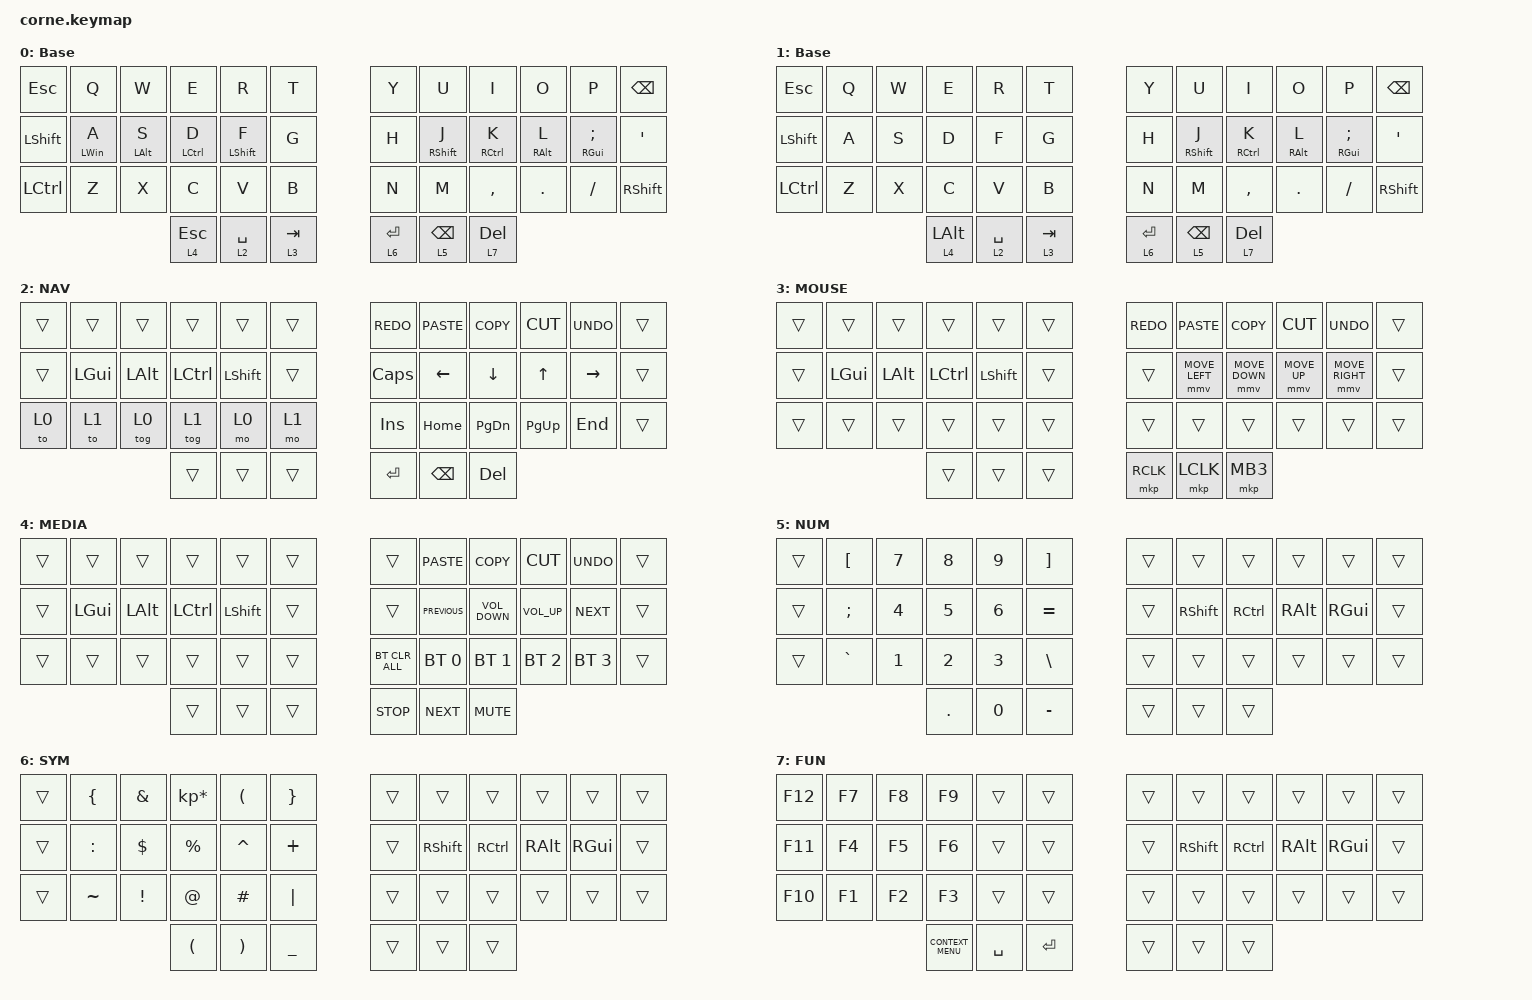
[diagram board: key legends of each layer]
#include <behaviors.dtsi>
#include <dt-bindings/zmk/bt.h>
#include <dt-bindings/zmk/keys.h>
#include <dt-bindings/zmk/pointing.h>

#define DEF 0
#define NAV 1
#define SYM 2
#define ADJ 3
#define EXTRA 4

&mt {
    flavor = "balanced";
    quick-tap-ms = <175>;
    tapping-term-ms = <280>;
    require-prior-idle-ms = <150>;
};

/ {
    behaviors {
        hm: homerow_mods {
            compatible = "zmk,behavior-hold-tap";
            label = "HOMEROW_MODS";
            #binding-cells = <2>;
            tapping-term-ms = <200>;
            quick_tap_ms = <0>;
            flavor = "tap-preferred";
            bindings = <&kp>, <&kp>;

            quick-tap-ms = <180>;
            global-quick-tap;
        };

        para: para {
            compatible = "zmk,behavior-tap-dance";
            label = "PARA";
            #binding-cells = <0>;
            bindings = <&kp LEFT_PARENTHESIS>, <&kp RIGHT_PARENTHESIS>;
        };

        caps: caps {
            compatible = "zmk,behavior-caps-word";
            label = "CAPS";
            #binding-cells = <0>;
            continue-list = <MINUS BACKSPACE>;
        };

        paraless: paraless {
            compatible = "zmk,behavior-mod-morph";
            label = "PARALESS";
            bindings = <&kp LEFT_PARENTHESIS>, <&kp LESS_THAN>;

            #binding-cells = <0>;
            mods = <(MOD_LSFT)>;
        };

        paragreat: paragreat {
            compatible = "zmk,behavior-mod-morph";
            label = "PARAGREAT";
            bindings = <&kp RIGHT_PARENTHESIS>, <&kp GREATER_THAN>;

            #binding-cells = <0>;
            mods = <(MOD_LSFT)>;
        };
    };

    macros {
        browsertab: browsertab {
            compatible = "zmk,behavior-macro";
            #binding-cells = <0>;
            bindings =
                <&macro_press>,
                <&kp LCTRL>,
                <&macro_tap>,
                <&kp TAB>,
                <&macro_release>,
                <&kp LCTRL>;
        };
    };

    combos {
        compatible = "zmk,combos";

        escape {
            bindings = <&kp ESCAPE>;
            key-positions = <13 29>;
        };

        delete {
            bindings = <&kp DELETE>;
            key-positions = <15 21>;
        };

        perc {
            bindings = <&kp PERCENT>;
            key-positions = <5 17>;
        };

        equal {
            bindings = <&kp EQUAL>;
            key-positions = <28 16>;
        };

        dollar {
            bindings = <&kp DOLLAR>;
            key-positions = <4 16>;
        };

        pound {
            bindings = <&kp POUND>;
            key-positions = <3 15>;
        };

        at {
            bindings = <&kp AT>;
            key-positions = <2 14>;
        };

        backslash {
            bindings = <&kp BACKSLASH>;
            key-positions = <26 14>;
        };

        copy {
            bindings = <&kp K_COPY>;
            key-positions = <28 27>;
        };

        paste {
            bindings = <&kp K_PASTE>;
            key-positions = <26 27>;
        };

        star {
            bindings = <&kp STAR>;
            key-positions = <8 20>;
        };

        slash {
            bindings = <&kp SLASH>;
            key-positions = <32 20>;
        };

        plus {
            bindings = <&kp PLUS>;
            key-positions = <7 19>;
        };

        minus {
            bindings = <&kp KP_MINUS>;
            key-positions = <31 19>;
        };

        underscore {
            bindings = <&kp UNDER>;
            key-positions = <30 18>;
        };

        leftbrack {
            bindings = <&kp LEFT_BRACKET>;
            key-positions = <31 32>;
        };

        rightbrack {
            bindings = <&kp RIGHT_BRACKET>;
            key-positions = <33 32>;
        };

        para-less {
            bindings = <&paraless>;
            key-positions = <20 19>;
        };

        para-great {
            bindings = <&paragreat>;
            key-positions = <20 21>;
        };

        GamingToggle {
            bindings = <&tog 0>;
            key-positions = <24 25>;
        };
    };

    //

    keymap {
        compatible = "zmk,keymap";

        Base {
            display-name = "Base";

            // -----------------------------------------------------------------------------------------
            // |  Q  |  W  |  E  |  R  |  T  |   |  Y  |  U   |  I  |  O  |  P  |
            // |  A  |  S  |  D  |  F  |  G  |   |  H  |  J   |  K  |  L  |  ;  |
            // |  Z  |  X  |  C  |  V  |  B  |   |  N  |  M   |  ,  |  .  |  /  |
            // | GUI | CTRL | SHFT | LWR | SPC |   | ENT | RSE  | BKSP | ALT | ESC |

            bindings = <
&kp ESC    &kp Q           &kp W           &kp E               &kp R             &kp T        &kp Y        &kp U              &kp I                &kp O            &kp P               &kp BACKSPACE
&kp LSHFT  &mt LEFT_WIN A  &mt LEFT_ALT S  &mt LEFT_CONTROL D  &mt LEFT_SHIFT F  &kp G        &kp H        &mt RIGHT_SHIFT J  &mt RIGHT_CONTROL K  &mt RIGHT_ALT L  &mt RIGHT_GUI SEMI  &kp SQT
&kp LCTRL  &kp Z           &kp X           &kp C               &kp V             &kp B        &kp N        &kp M              &kp COMMA            &kp DOT          &kp FSLH            &kp RSHFT
                                           &lt 4 ESC           &lt 2 SPACE       &lt 3 TAB    &lt 6 ENTER  &lt 5 BACKSPACE    &lt 7 DEL
            >;
        };

        Gaming {
            display-name = "Base";
            bindings = <
&kp ESC    &kp Q  &kp W  &kp E           &kp R        &kp T        &kp Y        &kp U              &kp I                &kp O            &kp P               &kp BACKSPACE
&kp LSHFT  &kp A  &kp S  &kp D           &kp F        &kp G        &kp H        &mt RIGHT_SHIFT J  &mt RIGHT_CONTROL K  &mt RIGHT_ALT L  &mt RIGHT_GUI SEMI  &kp SQT
&kp LCTRL  &kp Z  &kp X  &kp C           &kp V        &kp B        &kp N        &kp M              &kp COMMA            &kp DOT          &kp FSLH            &kp RSHFT
                         &lt 4 LEFT_ALT  &lt 2 SPACE  &lt 3 TAB    &lt 6 ENTER  &lt 5 BACKSPACE    &lt 7 DEL
            >;
        };

        NAV {
            bindings = <
&trans  &trans        &trans        &trans            &trans          &trans    &kp K_REDO    &kp K_PASTE    &kp K_COPY     &kp K_CUT     &kp K_UNDO  &trans
&trans  &kp LEFT_GUI  &kp LEFT_ALT  &kp LEFT_CONTROL  &kp LEFT_SHIFT  &trans    &kp CAPSLOCK  &kp LEFT       &kp DOWN       &kp UP_ARROW  &kp RIGHT   &trans
&to 0   &to 1         &tog 0        &tog 1            &mo 0           &mo 1     &kp INSERT    &kp HOME       &kp PAGE_DOWN  &kp PAGE_UP   &kp END     &trans
                                    &trans            &trans          &trans    &kp ENTER     &kp BACKSPACE  &kp DELETE
            >;
        };

        MOUSE {
            bindings = <
&trans  &trans    &trans    &trans     &trans     &trans    &kp K_REDO  &kp K_PASTE     &kp K_COPY      &kp K_CUT     &kp K_UNDO       &trans
&trans  &kp LGUI  &kp LALT  &kp LCTRL  &kp LSHFT  &trans    &trans      &mmv MOVE_LEFT  &mmv MOVE_DOWN  &mmv MOVE_UP  &mmv MOVE_RIGHT  &trans
&trans  &trans    &trans    &trans     &trans     &trans    &trans      &trans          &trans          &trans        &trans           &trans
                            &trans     &trans     &trans    &mkp RCLK   &mkp LCLK       &mkp MB3
            >;
        };

        MEDIA {
            bindings = <
&trans  &trans    &trans    &trans     &trans     &trans    &trans          &kp K_PASTE     &kp K_COPY         &kp K_CUT        &kp K_UNDO    &trans
&trans  &kp LGUI  &kp LALT  &kp LCTRL  &kp LSHFT  &trans    &trans          &kp K_PREVIOUS  &kp C_VOLUME_DOWN  &kp C_VOLUME_UP  &kp C_NEXT    &trans
&trans  &trans    &trans    &trans     &trans     &trans    &bt BT_CLR_ALL  &bt BT_SEL 0    &bt BT_SEL 1       &bt BT_SEL 2     &bt BT_SEL 3  &trans
                            &trans     &trans     &trans    &kp K_STOP      &kp K_NEXT      &kp K_MUTE
            >;
        };

        NUM {
            bindings = <
&trans  &kp LBKT   &kp N7  &kp N8   &kp N9  &kp RBKT     &trans  &trans     &trans     &trans    &trans    &trans
&trans  &kp SEMI   &kp N4  &kp N5   &kp N6  &kp EQUAL    &trans  &kp RSHFT  &kp RCTRL  &kp RALT  &kp RGUI  &trans
&trans  &kp GRAVE  &kp N1  &kp N2   &kp N3  &kp BSLH     &trans  &trans     &trans     &trans    &trans    &trans
                           &kp DOT  &kp N0  &kp MINUS    &trans  &trans     &trans
            >;
        };

        SYM {
            bindings = <
&trans  &kp LEFT_BRACE  &kp AMPERSAND  &kp KP_MULTIPLY       &kp LEFT_PARENTHESIS   &kp RIGHT_BRACE    &trans  &trans     &trans     &trans    &trans    &trans
&trans  &kp COLON       &kp DOLLAR     &kp PERCENT           &kp CARET              &kp PLUS           &trans  &kp RSHFT  &kp RCTRL  &kp RALT  &kp RGUI  &trans
&trans  &kp TILDE       &kp EXCL       &kp AT_SIGN           &kp POUND              &kp PIPE           &trans  &trans     &trans     &trans    &trans    &trans
                                       &kp LEFT_PARENTHESIS  &kp RIGHT_PARENTHESIS  &kp UNDER          &trans  &trans     &trans
            >;
        };

        FUN {
            bindings = <
&kp F12  &kp F7  &kp F8  &kp F9              &trans     &trans       &trans  &trans     &trans     &trans    &trans    &trans
&kp F11  &kp F4  &kp F5  &kp F6              &trans     &trans       &trans  &kp RSHFT  &kp RCTRL  &kp RALT  &kp RGUI  &trans
&kp F10  &kp F1  &kp F2  &kp F3              &trans     &trans       &trans  &trans     &trans     &trans    &trans    &trans
                         &kp K_CONTEXT_MENU  &kp SPACE  &kp ENTER    &trans  &trans     &trans
            >;
        };
    };

    conditional_layers {
        compatible = "zmk,conditional-layers";

        l3 {
            if-layers = <3 3>;
            then-layer = <3>;
        };
    };
};
